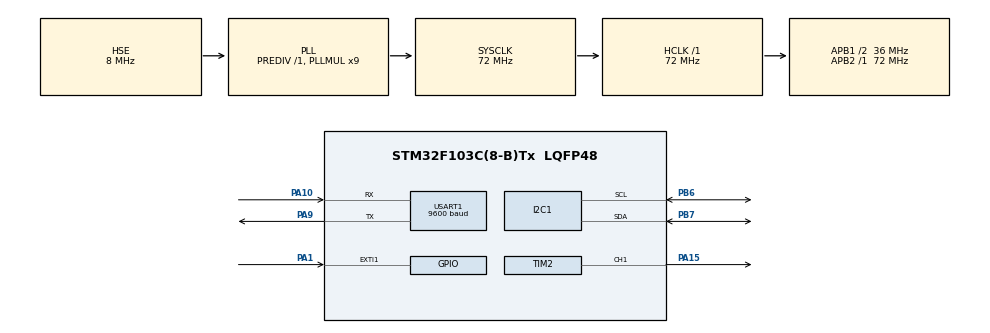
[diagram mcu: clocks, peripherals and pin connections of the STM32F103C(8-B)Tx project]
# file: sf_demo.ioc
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I2C1.I2C_Mode=I2C_Fast
Mcu.Family=STM32F1
Mcu.Name=STM32F103C(8-B)Tx
Mcu.Package=LQFP48
NVIC.EXTI1_IRQn=true\:0\:0\:false\:false\:true\:true\:true
NVIC.PriorityGroup=NVIC_PRIORITYGROUP_4
NVIC.TIM2_IRQn=true\:0\:0\:false\:false\:true\:true\:true
PA1.GPIO_ModeDefaultEXTI=GPIO_MODE_IT_RISING
PA1.GPIO_PuPd=GPIO_PULLUP
PA1.Signal=GPXTI1
PA10.Mode=Asynchronous
PA10.Signal=USART1_RX
PA13.Mode=Serial_Wire
PA13.Signal=SYS_JTMS-SWDIO
PA14.Mode=Serial_Wire
PA14.Signal=SYS_JTCK-SWCLK
PA15.Signal=S_TIM2_CH1_ETR
PA9.Mode=Asynchronous
PA9.Signal=USART1_TX
PB6.Mode=I2C
PB6.Signal=I2C1_SCL
PB7.Mode=I2C
PB7.Signal=I2C1_SDA
PD0-OSC_IN.Mode=HSE-External-Oscillator
PD0-OSC_IN.Signal=RCC_OSC_IN
PD1-OSC_OUT.Mode=HSE-External-Oscillator
PD1-OSC_OUT.Signal=RCC_OSC_OUT
ProjectManager.HeapSize=0x200
ProjectManager.StackSize=0x400
ProjectManager.TargetToolchain=MDK-ARM V5
RCC.AHBFreq_Value=72000000
RCC.APB1CLKDivider=RCC_HCLK_DIV2
RCC.APB1Freq_Value=36000000
RCC.APB1TimFreq_Value=72000000
RCC.APB2Freq_Value=72000000
RCC.APB2TimFreq_Value=72000000
RCC.HCLKFreq_Value=72000000
RCC.PLLMUL=RCC_PLL_MUL9
RCC.PLLSourceVirtual=RCC_PLLSOURCE_HSE
RCC.SYSCLKFreq_VALUE=72000000
RCC.SYSCLKSource=RCC_SYSCLKSOURCE_PLLCLK
RCC.USBFreq_Value=72000000
SH.S_TIM2_CH1_ETR.0=TIM2_CH1,PWM Generation1 CH1
TIM2.Channel-PWM\ Generation1\ CH1=TIM_CHANNEL_1
TIM2.Period=500
TIM2.Prescaler=7199
USART1.BaudRate=9600
USART1.VirtualMode=VM_ASYNC
board=custom

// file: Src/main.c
/* USER CODE BEGIN Header */
/**
  ******************************************************************************
  * @file           : main.c
  * @brief          : Main program body
  ******************************************************************************
  * @attention
  *
  * <h2><center>&copy; Copyright (c) 2019 STMicroelectronics.
  * All rights reserved.</center></h2>
  *
  * This software component is licensed by ST under BSD 3-Clause license,
  * the "License"; You may not use this file except in compliance with the
  * License. You may obtain a copy of the License at:
  *                        opensource.org/licenses/BSD-3-Clause
  *
  ******************************************************************************
  */
/* USER CODE END Header */

#include "main.h"
#include "i2c.h"
#include "tim.h"
#include "usart.h"
#include "gpio.h"

/* USER CODE BEGIN Includes */
#include <stdlib.h>
#include <stdio.h>

#include "oled.h"
#include "ds1302.h"
#include "control.h"
/* USER CODE END Includes */

/* USER CODE BEGIN PTD */
extern uint32_t Remote_Odr;    //命令暂存处
extern uint8_t  Remote_Cnt;    //按键次数,此次按下键的次数
extern uint8_t  Remote_Rdy;
/* USER CODE END PTD */

void SystemClock_Config(void);

/* USER CODE BEGIN 0 */
extern uint8_t DShour,DSminute,DSsecond;
/* USER CODE END 0 */

int main(void)
{
  /* USER CODE BEGIN 1 */
	uint8_t key;

  /* USER CODE END 1 */

  /* MCU Configuration--------------------------------------------------------*/

  /* Reset of all peripherals, Initializes the Flash interface and the Systick. */
  HAL_Init();

  /* Configure the system clock */
  SystemClock_Config();

  /* Initialize all configured peripherals */
  MX_GPIO_Init();
  MX_USART1_UART_Init();
  MX_TIM2_Init();
  MX_I2C1_Init();
  /* USER CODE BEGIN 2 */
  HAL_TIM_PWM_Start(&htim2,TIM_CHANNEL_1);

	DS1302_Init();

	OLED_Init();
	OLED_Fill(0xFF);
	HAL_Delay(10);
	OLED_Fill(0x00);
	for(int i=0;i<7;i++){

		OLED_ShowCN(1+i*16,0,i);

	}

	HAL_Delay(2);
	OLED_ShowStr(0,2,(unsigned char *)"Temp:",2);
	HAL_Delay(2);
	OLED_ShowStr(40,2,(unsigned char *)"27",2);
	HAL_Delay(2);
	OLED_ShowStr(70,2,(unsigned char *)"C",2);
	HAL_Delay(2);
	OLED_ShowStr(0,4,(unsigned char *)"Humi:",2);
	HAL_Delay(2);
	OLED_ShowStr(40,4,(unsigned char *)"56",2);
	HAL_Delay(2);
	OLED_ShowStr(70,4,(unsigned char *)"F",2);

	//OLED_CLS();
	//OLED_OFF();
	//HAL_Delay(2);
	//OLED_ON();

  /* USER CODE END 2 */

  /* Infinite loop */
  while (1)
  {

    /* USER CODE BEGIN 3 */

	  		time_read();
		//printf("%d%d:%d%d:%d%d\n",DShour/16,DShour%16,DSminute/16,DSminute%16,(DSsecond&0x70)>>4,DSsecond&0x0f);
		unsigned char  h_ge,  h_shi,m_ge,m_shi,s_ge,s_shi;
		h_ge = (DShour%16)+0x30;
		h_shi = (DShour/16)+0x30;
		m_shi = (DSminute/16)+0x30;
		m_ge = (DSminute%16)+0x30;
		s_shi = ((DSsecond&0x70)>>4)+0x30;
		s_ge = (DSsecond&0x0f)+0x30;
		HAL_Delay(2);
		OLED_ShowStr(0,6,(unsigned char *)"Time :",2);
		HAL_Delay(2);
		OLED_ShowStr(50,6,&h_shi,2);
		HAL_Delay(2);
		OLED_ShowStr(60,6,&h_ge,2);
		HAL_Delay(2);
		OLED_ShowStr(70,6,(unsigned char *)":",2);
		HAL_Delay(2);
		OLED_ShowStr(80,6,&m_shi,2);
		HAL_Delay(2);
		OLED_ShowStr(90,6,&m_ge,2);
		HAL_Delay(2);
		OLED_ShowStr(100,6,(unsigned char *)":",2);
		HAL_Delay(2);
		OLED_ShowStr(110,6,&s_shi,2);
		HAL_Delay(2);
		OLED_ShowStr(120,6,&s_ge,2);

		if(Remote_Rdy){
			key = Remote_Process();
			switch(key){
				case 0x68:printf("0模式\n");__HAL_TIM_SET_COMPARE(&htim2,TIM_CHANNEL_1,150); break;
				case 0x88:printf("1定时\n");__HAL_TIM_SET_COMPARE(&htim2,TIM_CHANNEL_1,200);break;
				case 0x18:
					printf("2风速下\n");
				  __HAL_TIM_SET_COMPARE(&htim2,TIM_CHANNEL_1,50);

				  break;
				case 0x98:
					printf("3风速上\n");
				  __HAL_TIM_SET_COMPARE(&htim2,TIM_CHANNEL_1,25);

  				break;
				case 0xa8:printf("4杀菌\n");__HAL_TIM_SET_COMPARE(&htim2,TIM_CHANNEL_1,100); break;
				case 0x38:printf("5on/off键\n");__HAL_TIM_SET_COMPARE(&htim2,TIM_CHANNEL_1,0); break;
				case 0x28:printf("6童锁\n");__HAL_TIM_SET_COMPARE(&htim2,TIM_CHANNEL_1,230);break;
				case 0x42:printf("7\n");__HAL_TIM_SET_COMPARE(&htim2,TIM_CHANNEL_1,350); break;
				case 0x4a:printf("8\n");__HAL_TIM_SET_COMPARE(&htim2,TIM_CHANNEL_1,400); break;
				case 0x52:printf("9\n");__HAL_TIM_SET_COMPARE(&htim2,TIM_CHANNEL_1,450); break;
				default: break;
			}
		}
  }
  /* USER CODE END 3 */
}

void SystemClock_Config(void)
{
  RCC_OscInitTypeDef RCC_OscInitStruct = {0};
  RCC_ClkInitTypeDef RCC_ClkInitStruct = {0};

  /** Initializes the CPU, AHB and APB busses clocks
  */
  RCC_OscInitStruct.OscillatorType = RCC_OSCILLATORTYPE_HSE;
  RCC_OscInitStruct.HSEState = RCC_HSE_ON;
  RCC_OscInitStruct.HSEPredivValue = RCC_HSE_PREDIV_DIV1;
  RCC_OscInitStruct.HSIState = RCC_HSI_ON;
  RCC_OscInitStruct.PLL.PLLState = RCC_PLL_ON;
  RCC_OscInitStruct.PLL.PLLSource = RCC_PLLSOURCE_HSE;
  RCC_OscInitStruct.PLL.PLLMUL = RCC_PLL_MUL9;
  if (HAL_RCC_OscConfig(&RCC_OscInitStruct) != HAL_OK)
  {
    Error_Handler();
  }
  /** Initializes the CPU, AHB and APB busses clocks
  */
  RCC_ClkInitStruct.ClockType = RCC_CLOCKTYPE_HCLK|RCC_CLOCKTYPE_SYSCLK
                              |RCC_CLOCKTYPE_PCLK1|RCC_CLOCKTYPE_PCLK2;
  RCC_ClkInitStruct.SYSCLKSource = RCC_SYSCLKSOURCE_PLLCLK;
  RCC_ClkInitStruct.AHBCLKDivider = RCC_SYSCLK_DIV1;
  RCC_ClkInitStruct.APB1CLKDivider = RCC_HCLK_DIV2;
  RCC_ClkInitStruct.APB2CLKDivider = RCC_HCLK_DIV1;

  if (HAL_RCC_ClockConfig(&RCC_ClkInitStruct, FLASH_LATENCY_2) != HAL_OK)
  {
    Error_Handler();
  }
}

/* USER CODE BEGIN 4 */
/*
void HAL_GPIO_EXTI_Callback(uint16_t GPIO_Pin){
	if(GPIO_Pin == GPIO_PIN_1){
		Toggle_LED();
	}
}

void Toggle_LED(void){
	HAL_GPIO_TogglePin(GPIOA,GPIO_PIN_15);
}*/

int fputc(int ch, FILE *f)
{
    HAL_UART_Transmit(&huart1, (uint8_t *)&ch,1, 0xFFFF);
    return ch;
}
int fgetc(FILE *f)
{
  uint8_t  ch;
    HAL_UART_Receive(&huart1,(uint8_t *)&ch, 1, 0xFFFF);
    return  ch;
}
/* USER CODE END 4 */

void Error_Handler(void)
{
}

/************************ (C) COPYRIGHT STMicroelectronics *****END OF FILE****/
